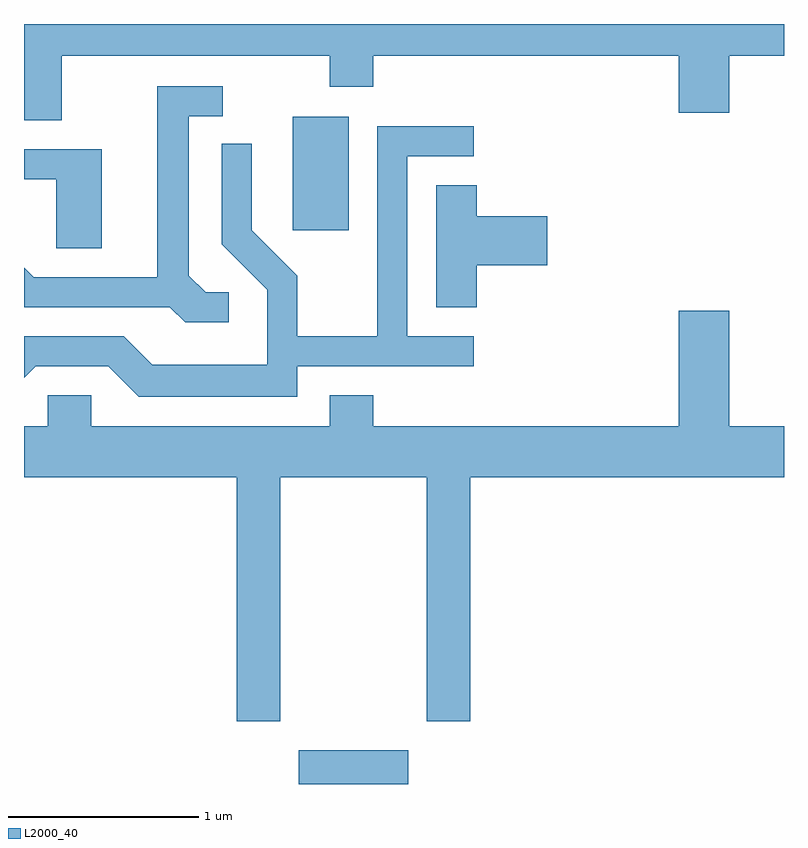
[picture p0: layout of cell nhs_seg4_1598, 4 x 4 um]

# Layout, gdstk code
import gdstk
lib = gdstk.Library(unit=1e-6, precision=1e-09)
def R(c, l, rs):  # rectangles x0, y0, x1, y1
    for r in rs: c.add(gdstk.rectangle(r[:2], r[2:], *l))
def P(c, l, *ps):  # polygons
    for p in ps: c.add(gdstk.Polygon(p, *l))
L2000_40 = (2000, 40)

nhs_seg4_1598 = lib.new_cell('nhs_seg4_1598')
R(nhs_seg4_1598, L2000_40, [(233.056,1321.982,233.634,1322.159), (233.026,1324.896,233.319,1325.494)])
P(nhs_seg4_1598, L2000_40, [(231.809,1325.816),(233.221,1325.816),(233.221,1325.651),(233.449,1325.651),(233.449,1325.816),(235.056,1325.816),(235.056,1325.516),(235.324,1325.516),(235.324,1325.816),(235.611,1325.816),(235.611,1325.982),(231.611,1325.982),(231.611,1325.476),(231.809,1325.476)],
  [(232.688,1324.569),(232.567,1324.569),(232.479,1324.657),(232.479,1325.496),(232.658,1325.496),(232.658,1325.654),(232.311,1325.654),(232.311,1324.649),(231.662,1324.649),(231.611,1324.7),(231.611,1324.491),(232.379,1324.491),(232.459,1324.411),(232.688,1324.411)],
  [(233.049,1324.181),(233.978,1324.181),(233.978,1324.339),(233.629,1324.339),(233.629,1325.286),(233.978,1325.286),(233.978,1325.444),(233.471,1325.444),(233.471,1324.339),(233.049,1324.339),(233.049,1324.657),(232.809,1324.897),(232.809,1325.353),(232.651,1325.353),(232.651,1324.824),(232.891,1324.584),(232.891,1324.189),(232.287,1324.189),(232.137,1324.339),(231.611,1324.339),(231.611,1324.12),(231.672,1324.181),(232.054,1324.181),(232.214,1324.021),(233.049,1324.021)],
  [(232.019,1325.324),(231.611,1325.324),(231.611,1325.166),(231.781,1325.166),(231.781,1324.801),(232.019,1324.801)],
  [(233.994,1324.711),(234.364,1324.711),(234.364,1324.969),(233.994,1324.969),(233.994,1325.134),(233.781,1325.134),(233.781,1324.491),(233.994,1324.491)],
  [(232.959,1323.596),(233.731,1323.596),(233.731,1322.311),(233.959,1322.311),(233.959,1323.596),(235.611,1323.596),(235.611,1323.864),(235.324,1323.864),(235.324,1324.474),(235.056,1324.474),(235.056,1323.864),(233.449,1323.864),(233.449,1324.029),(233.221,1324.029),(233.221,1323.864),(231.964,1323.864),(231.964,1324.029),(231.736,1324.029),(231.736,1323.864),(231.611,1323.864),(231.611,1323.596),(232.731,1323.596),(232.731,1322.311),(232.959,1322.311)])

lib.write_gds('nhs_seg4_1598.gds')
